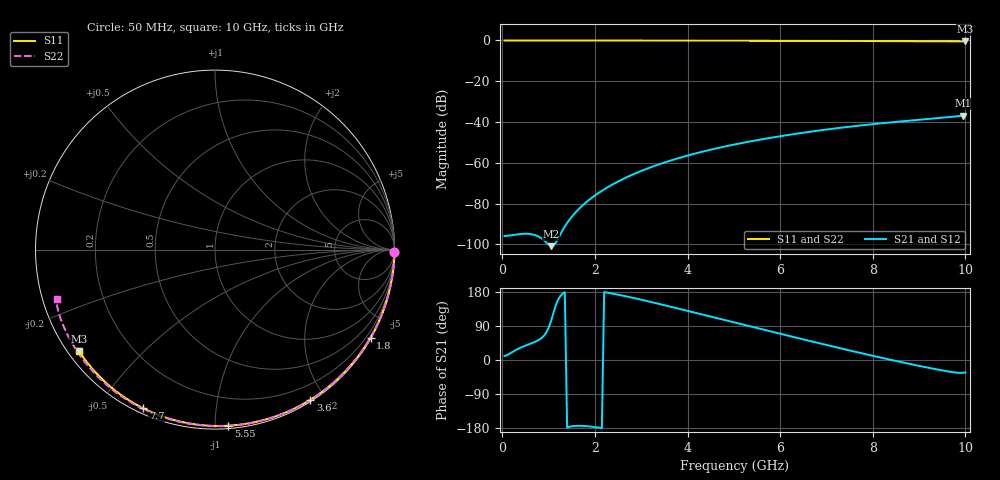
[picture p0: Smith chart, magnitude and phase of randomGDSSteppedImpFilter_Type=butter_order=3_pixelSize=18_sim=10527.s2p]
! freq	dB(S11)	phase(S11)	dB(S12)	phase(S12)
!  dB(S21)	phase(S21)	dB(S22)	phase(S22)
!S-par simulation data
#  GHz  S  DB  R 50
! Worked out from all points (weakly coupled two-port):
!   200 points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, 50 MHz to 10 GHz, reference 50 ohm
!   highest |S21| = -36.81 dB at 9.95 GHz (marker M1); lowest = -100.8 dB at 1.05 GHz (marker M2)
!   lowest |S11| = -0.5 dB at 10 GHz (marker M3), VSWR 36.58, Z = 1.52 - j16.5 ohm
!   |S11| at or under -10 dB: nowhere
!   |S22| runs from -0.7 to 0.0 dB; largest |S21 - S12| = 0
!   S11 on the Smith chart (normalised r, x): 50 MHz: open; 1.8 GHz: 0.03, -3.80; 3.6 GHz: 0.02, -1.82; 5.55 GHz: 0.02, -1.08; 7.7 GHz: 0.02, -0.65; 10 GHz: 0.03, -0.33
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0.05  -0.00 -0.8  -95.87 10.8  -95.87 10.8  -0.00 -0.9
0.55  -0.01 -9.1  -94.77 40.3  -94.77 40.3  -0.01 -10.1
1.05  -0.02 -17.3  -100.84 101.8  -100.84 101.8  -0.02 -19.1
1.75  -0.04 -28.7  -80.51 -174.0  -80.51 -174.0  -0.04 -31.6
1.8  -0.04 -29.5  -79.52 -174.4  -79.52 -174.4  -0.04 -32.5
2.1  -0.04 -34.3  -74.43 -178.8  -74.43 -178.8  -0.05 -37.7
2.3  -0.05 -37.5  -71.62 177.1  -71.62 177.1  -0.05 -41.2
2.5  -0.05 -40.6  -69.15 172.4  -69.15 172.4  -0.06 -44.7
2.9  -0.06 -46.8  -64.91 161.9  -64.91 161.9  -0.07 -51.5
3.4  -0.07 -54.5  -60.60 147.6  -60.60 147.6  -0.08 -59.9
3.6  -0.08 -57.5  -59.11 141.7  -59.11 141.7  -0.08 -63.2
4.3  -0.10 -67.9  -54.64 120.6  -54.64 120.6  -0.11 -74.6
5.05  -0.12 -78.7  -50.82 97.8  -50.82 97.8  -0.13 -86.5
5.55  -0.14 -85.7  -48.67 82.7  -48.67 82.7  -0.15 -94.2
6.1  -0.17 -93.3  -46.58 66.2  -46.58 66.2  -0.18 -102.5
6.7  -0.20 -101.3  -44.57 48.4  -44.57 48.4  -0.22 -111.4
7.7  -0.26 -114.3  -41.76 19.5  -41.76 19.5  -0.29 -126.1
8.35  -0.32 -122.6  -40.24 1.4  -40.24 1.4  -0.35 -135.6
9.3  -0.41 -134.6  -38.33 -22.9  -38.33 -22.9  -0.46 -150.0
9.7  -0.45 -139.6  -37.47 -31.7  -37.47 -31.7  -0.53 -156.7
9.95  -0.47 -142.7  -36.81 -33.6  -36.81 -33.6  -0.63 -161.5
10  -0.48 -143.4  -36.83 -32.8  -36.83 -32.8  -0.68 -162.6
